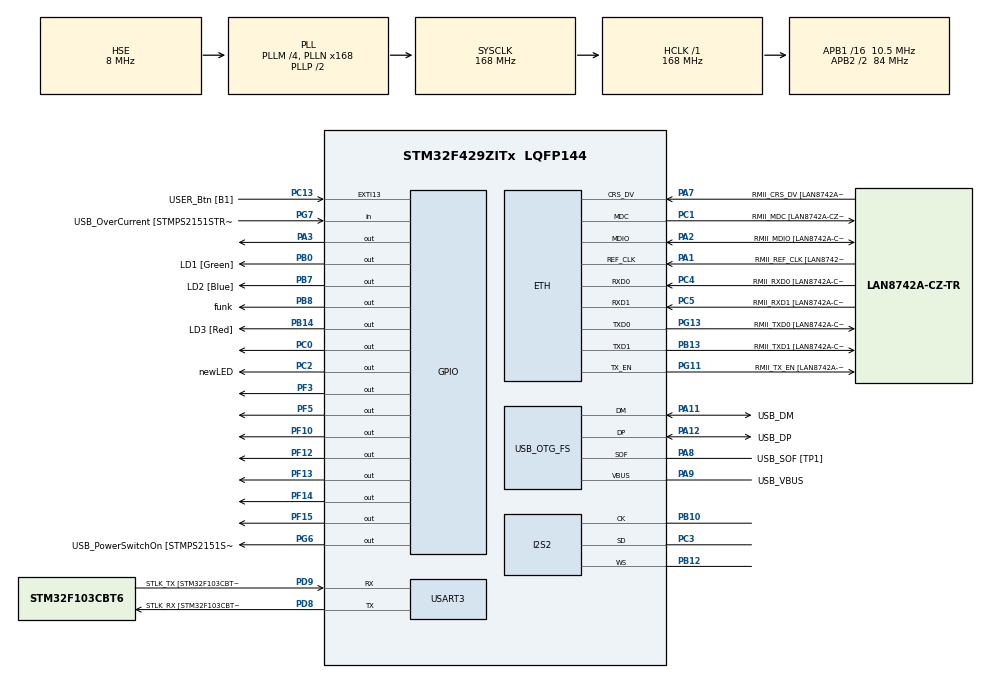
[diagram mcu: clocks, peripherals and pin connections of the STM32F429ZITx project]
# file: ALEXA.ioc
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Dma.Request0=SPI2_RX
Dma.SPI2_RX.0.Direction=DMA_PERIPH_TO_MEMORY
Dma.SPI2_RX.0.FIFOMode=DMA_FIFOMODE_DISABLE
Dma.SPI2_RX.0.Instance=DMA1_Stream3
Dma.SPI2_RX.0.MemDataAlignment=DMA_MDATAALIGN_HALFWORD
Dma.SPI2_RX.0.MemInc=DMA_MINC_ENABLE
Dma.SPI2_RX.0.Mode=DMA_CIRCULAR
Dma.SPI2_RX.0.PeriphDataAlignment=DMA_PDATAALIGN_HALFWORD
Dma.SPI2_RX.0.PeriphInc=DMA_PINC_DISABLE
Dma.SPI2_RX.0.Priority=DMA_PRIORITY_HIGH
ETH.MediaInterface=HAL_ETH_RMII_MODE
ETH.PHY_Name=LAN8742A_PHY_ADDRESS
ETH.PHY_Value=0
ETH.PhyAddress=0
I2S2.AudioFreq=I2S_AUDIOFREQ_16K
I2S2.DataFormat=I2S_DATAFORMAT_24B
I2S2.ErrorAudioFreq=-0.26 %
I2S2.FullDuplexMode=I2S_FULLDUPLEXMODE_DISABLE
I2S2.Instance=SPI$Index
I2S2.Mode=I2S_MODE_MASTER_RX
I2S2.RealAudioFreq=15.957 KHz
I2S2.VirtualMode=I2S_MODE_MASTER
Mcu.Family=STM32F4
Mcu.Name=STM32F429ZITx
Mcu.Package=LQFP144
NVIC.DMA1_Stream3_IRQn=true\:0\:0\:false\:false\:true\:false\:true\:true
NVIC.PriorityGroup=NVIC_PRIORITYGROUP_4
PA1.GPIO_Label=RMII_REF_CLK [LAN8742A-CZ-TR_REFCLK0]
PA1.Mode=RMII
PA1.Signal=ETH_REF_CLK
PA10.GPIO_Label=USB_ID
PA10.Signal=USB_OTG_FS_ID
PA11.GPIO_Label=USB_DM
PA11.Mode=Device_Only
PA11.Signal=USB_OTG_FS_DM
PA12.GPIO_Label=USB_DP
PA12.Mode=Device_Only
PA12.Signal=USB_OTG_FS_DP
PA13.GPIO_Label=TMS
PA13.Mode=Serial_Wire
PA13.Signal=SYS_JTMS-SWDIO
PA14.GPIO_Label=TCK
PA14.Mode=Serial_Wire
PA14.Signal=SYS_JTCK-SWCLK
PA2.GPIO_Label=RMII_MDIO [LAN8742A-CZ-TR_MDIO]
PA2.Mode=RMII
PA2.Signal=ETH_MDIO
PA3.Signal=GPIO_Output
PA7.GPIO_Label=RMII_CRS_DV [LAN8742A-CZ-TR_CRS_DV]
PA7.Mode=RMII
PA7.Signal=ETH_CRS_DV
PA8.GPIO_Label=USB_SOF [TP1]
PA8.Mode=Activate_SOF_FS
PA8.Signal=USB_OTG_FS_SOF
PA9.GPIO_Label=USB_VBUS
PA9.Mode=Activate_VBUS
PA9.Signal=USB_OTG_FS_VBUS
PB0.GPIO_Label=LD1 [Green]
PB0.Signal=GPIO_Output
PB10.Mode=Half_Duplex_Master
PB10.Signal=I2S2_CK
PB12.Mode=Half_Duplex_Master
PB12.Signal=I2S2_WS
PB13.GPIO_Label=RMII_TXD1 [LAN8742A-CZ-TR_TXD1]
PB13.Mode=RMII
PB13.Signal=ETH_TXD1
PB14.GPIO_Label=LD3 [Red]
PB14.Signal=GPIO_Output
PB7.GPIO_Label=LD2 [Blue]
PB7.Signal=GPIO_Output
PB8.GPIO_Label=funk
PB8.Signal=GPIO_Output
PC0.Signal=GPIO_Output
PC1.GPIO_Label=RMII_MDC [LAN8742A-CZ-TR_MDC]
PC1.Mode=RMII
PC1.Signal=ETH_MDC
PC13.GPIO_Label=USER_Btn [B1]
PC13.Signal=GPXTI13
PC14/OSC32_IN.Mode=LSE-External-Oscillator
PC14/OSC32_IN.Signal=RCC_OSC32_IN
PC15/OSC32_OUT.Mode=LSE-External-Oscillator
PC15/OSC32_OUT.Signal=RCC_OSC32_OUT
PC2.GPIO_Label=newLED
PC2.Signal=GPIO_Output
PC3.Mode=Half_Duplex_Master
PC3.Signal=I2S2_SD
PC4.GPIO_Label=RMII_RXD0 [LAN8742A-CZ-TR_RXD0]
PC4.Mode=RMII
PC4.Signal=ETH_RXD0
PC5.GPIO_Label=RMII_RXD1 [LAN8742A-CZ-TR_RXD1]
PC5.Mode=RMII
PC5.Signal=ETH_RXD1
PD8.GPIO_Label=STLK_RX [STM32F103CBT6_PA3]
PD8.Mode=Asynchronous
PD8.Signal=USART3_TX
PD9.GPIO_Label=STLK_TX [STM32F103CBT6_PA2]
PD9.Mode=Asynchronous
PD9.Signal=USART3_RX
PF10.Signal=GPIO_Output
PF12.Signal=GPIO_Output
PF13.Signal=GPIO_Output
PF14.Signal=GPIO_Output
PF15.Signal=GPIO_Output
PF3.Signal=GPIO_Output
PF5.Signal=GPIO_Output
PG11.GPIO_Label=RMII_TX_EN [LAN8742A-CZ-TR_TXEN]
PG11.Mode=RMII
PG11.Signal=ETH_TX_EN
PG13.GPIO_Label=RMII_TXD0 [LAN8742A-CZ-TR_TXD0]
PG13.Mode=RMII
PG13.Signal=ETH_TXD0
PG6.GPIO_Label=USB_PowerSwitchOn [STMPS2151STR_EN]
PG6.Signal=GPIO_Output
PG7.GPIO_Label=USB_OverCurrent [STMPS2151STR_FAULT]
PG7.Signal=GPIO_Input
PH0/OSC_IN.GPIO_Label=MCO [STM32F103CBT6_PA8]
PH0/OSC_IN.Mode=HSE-External-Clock-Source
PH0/OSC_IN.Signal=RCC_OSC_IN
PH1/OSC_OUT.Mode=HSE-External-Clock-Source
PH1/OSC_OUT.Signal=RCC_OSC_OUT
ProjectManager.HeapSize=0x200
ProjectManager.StackSize=0x400
ProjectManager.TargetToolchain=STM32CubeIDE
RCC.48MHZClocksFreq_Value=48000000
RCC.AHBFreq_Value=168000000
RCC.APB1CLKDivider=RCC_HCLK_DIV16
RCC.APB1Freq_Value=10500000
RCC.APB1TimFreq_Value=21000000
RCC.APB2CLKDivider=RCC_HCLK_DIV2
RCC.APB2Freq_Value=84000000
RCC.APB2TimCLKDivider=2
RCC.APB2TimFreq_Value=168000000
RCC.CortexFreq_Value=168000000
RCC.HCLKFreq_Value=168000000
RCC.HSE_VALUE=8000000
RCC.HSI_VALUE=16000000
RCC.PLLM=4
RCC.PLLMUL=RCC_PLL_MUL9
RCC.PLLN=168
RCC.PLLQ=7
RCC.PRESCALERUSB=RCC_USBCLKSOURCE_PLL_DIV1_5
RCC.SYSCLKFreq_VALUE=168000000
RCC.SYSCLKSource=RCC_SYSCLKSOURCE_PLLCLK
RCC.SYSCLKSourceVirtual=RCC_SYSCLKSOURCE_PLLCLK
RCC.USBFreq_Value=48000000
RCC.VCOOutputFreq_Value=336000000
TIM4.Period=800
TIM4.Prescaler=20
USART3.VirtualMode=VM_ASYNC
USB_OTG_FS.VirtualMode=Device_Only
VP_TIM4_VS_ClockSourceINT.Mode=Internal
board=NUCLEO-F429ZI

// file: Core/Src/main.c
/* USER CODE BEGIN Header */
/**
  ******************************************************************************
  * @file           : main.c
  * @brief          : Main program body
  ******************************************************************************
  * @attention
  *
  * Copyright (c) 2025 STMicroelectronics.
  * All rights reserved.
  *
  * This software is licensed under terms that can be found in the LICENSE file
  * in the root directory of this software component.
  * If no LICENSE file comes with this software, it is provided AS-IS.
  *
  ******************************************************************************
  */
/* USER CODE END Header */
#include "main.h"
#include "string.h"

/* USER CODE BEGIN Includes */
#include <stdint.h>
#include <stdbool.h>
#include <stdio.h>

#include "funk.h"
#include "mikro.h"

/* USER CODE END Includes */

ETH_TxPacketConfig TxConfig;
ETH_DMADescTypeDef  DMARxDscrTab[ETH_RX_DESC_CNT]; /* Ethernet Rx DMA Descriptors */
ETH_DMADescTypeDef  DMATxDscrTab[ETH_TX_DESC_CNT]; /* Ethernet Tx DMA Descriptors */

ETH_HandleTypeDef heth;

I2S_HandleTypeDef hi2s2;
DMA_HandleTypeDef hdma_spi2_rx;

TIM_HandleTypeDef htim4;

UART_HandleTypeDef huart3;

PCD_HandleTypeDef hpcd_USB_OTG_FS;

/* USER CODE BEGIN PV */

// 1 second of audio at 16 kHz = 16000 final samples
//constexpr uint32_t PCM_SAMPLES_PER_SEC = 16000;
volatile bool recording_finished = false;
TIM_HandleTypeDef* TIMER = &htim4;
UART_HandleTypeDef* display =  &huart3;

// declare pins
typedef struct {
	GPIO_TypeDef* port;
	uint16_t pin;
	uint8_t state;
} Segment_t;

// assign segments to pins
Segment_t segments[10] = {
		{GPIOA, GPIO_PIN_3, 0}, //A0 - A
		{GPIOC, GPIO_PIN_0, 0}, //A1 - B
		{GPIOC, GPIO_PIN_3, 0}, //A2 - C -> A7
		{GPIOF, GPIO_PIN_3, 0}, //A3 - D
		{GPIOF, GPIO_PIN_5, 0}, //A4 - E
		{GPIOF, GPIO_PIN_10, 0}, //A5 - F
		{GPIOF, GPIO_PIN_15, 0}, //D2 - G
		{GPIOF, GPIO_PIN_14, 0}, //D4 - H
		{GPIOF, GPIO_PIN_13, 0}, //D7 - I
		{GPIOF, GPIO_PIN_12, 0}, //D8 - J
};

/* USER CODE END PV */

void SystemClock_Config(void);
static void MX_GPIO_Init(void);
static void MX_DMA_Init(void);
static void MX_ETH_Init(void);
static void MX_USART3_UART_Init(void);
static void MX_USB_OTG_FS_PCD_Init(void);
static void MX_TIM4_Init(void);
static void MX_I2S2_Init(void);
/* USER CODE BEGIN PFP */

// declare light functions
//void gradualLightUp(void);
void gradualLightDown(void);
void gradualLightUp();
void turnOffAllSegments(void);

/* USER CODE END PFP */

int main(void)
{

  /* MCU Configuration--------------------------------------------------------*/

  /* Reset of all peripherals, Initializes the Flash interface and the Systick. */
  HAL_Init();

  /* Configure the system clock */
  SystemClock_Config();

  /* Initialize all configured peripherals */
  MX_GPIO_Init();
  MX_DMA_Init();
  MX_ETH_Init();
  MX_USART3_UART_Init();
  MX_USB_OTG_FS_PCD_Init();
  MX_TIM4_Init();
  MX_I2S2_Init();
  /* USER CODE BEGIN 2 */

   printf("recording finished\r\n");
   //HAL_I2S_Receive_DMA(&hi2s2, (uint16_t*)inputBuffer, I2S_DMA_BUF_SIZE);
   HAL(&hi2s2);

    sendSequence("111111000010");

    HAL_GPIO_WritePin(GPIOB, GPIO_PIN_14, GPIO_PIN_SET); // LED2 dauerhaft an
    HAL_Delay(5000);

    sendSequence("111111000001");
    HAL_GPIO_WritePin(GPIOB, GPIO_PIN_14, GPIO_PIN_RESET); // LED2 dauerhaft aus

    //recording_finished = true;
  /* USER CODE END 2 */

  /* Infinite loop */
  /* USER CODE BEGIN WHILE */
  while (1)
  {
	  if (recording_finished)
	 	      {
	 		  //HAL_GPIO_WritePin(LD1_GPIO_Port, LD1_Pin, GPIO_PIN_SET);
	 		  //const char *message = "Recording Ended.\r\n";
	 		  // Ensure huart2 is available and transmit the message.

	 		  getSamples();
	 		  recording_finished= false;
	 	      }

/*
		 gradualLightUp(10);
		 HAL_Delay(1000);
		 gradualLightDown();
		 HAL_Delay(1000);
		 */

    /* USER CODE END WHILE */

  }
}

void SystemClock_Config(void)
{
  RCC_OscInitTypeDef RCC_OscInitStruct = {0};
  RCC_ClkInitTypeDef RCC_ClkInitStruct = {0};

  /** Configure the main internal regulator output voltage
  */
  __HAL_RCC_PWR_CLK_ENABLE();
  __HAL_PWR_VOLTAGESCALING_CONFIG(PWR_REGULATOR_VOLTAGE_SCALE1);

  /** Initializes the RCC Oscillators according to the specified parameters
  * in the RCC_OscInitTypeDef structure.
  */
  RCC_OscInitStruct.OscillatorType = RCC_OSCILLATORTYPE_HSE;
  RCC_OscInitStruct.HSEState = RCC_HSE_BYPASS;
  RCC_OscInitStruct.PLL.PLLState = RCC_PLL_ON;
  RCC_OscInitStruct.PLL.PLLSource = RCC_PLLSOURCE_HSE;
  RCC_OscInitStruct.PLL.PLLM = 4;
  RCC_OscInitStruct.PLL.PLLN = 168;
  RCC_OscInitStruct.PLL.PLLP = RCC_PLLP_DIV2;
  RCC_OscInitStruct.PLL.PLLQ = 7;
  if (HAL_RCC_OscConfig(&RCC_OscInitStruct) != HAL_OK)
  {
    Error_Handler();
  }

  /** Initializes the CPU, AHB and APB buses clocks
  */
  RCC_ClkInitStruct.ClockType = RCC_CLOCKTYPE_HCLK|RCC_CLOCKTYPE_SYSCLK
                              |RCC_CLOCKTYPE_PCLK1|RCC_CLOCKTYPE_PCLK2;
  RCC_ClkInitStruct.SYSCLKSource = RCC_SYSCLKSOURCE_PLLCLK;
  RCC_ClkInitStruct.AHBCLKDivider = RCC_SYSCLK_DIV1;
  RCC_ClkInitStruct.APB1CLKDivider = RCC_HCLK_DIV16;
  RCC_ClkInitStruct.APB2CLKDivider = RCC_HCLK_DIV2;

  if (HAL_RCC_ClockConfig(&RCC_ClkInitStruct, FLASH_LATENCY_5) != HAL_OK)
  {
    Error_Handler();
  }
}

static void MX_ETH_Init(void)
{

   static uint8_t MACAddr[6];

  heth.Instance = ETH;
  MACAddr[0] = 0x00;
  MACAddr[1] = 0x80;
  MACAddr[2] = 0xE1;
  MACAddr[3] = 0x00;
  MACAddr[4] = 0x00;
  MACAddr[5] = 0x00;
  heth.Init.MACAddr = &MACAddr[0];
  heth.Init.MediaInterface = HAL_ETH_RMII_MODE;
  heth.Init.TxDesc = DMATxDscrTab;
  heth.Init.RxDesc = DMARxDscrTab;
  heth.Init.RxBuffLen = 1524;

  if (HAL_ETH_Init(&heth) != HAL_OK)
  {
    Error_Handler();
  }

  memset(&TxConfig, 0 , sizeof(ETH_TxPacketConfig));
  TxConfig.Attributes = ETH_TX_PACKETS_FEATURES_CSUM | ETH_TX_PACKETS_FEATURES_CRCPAD;
  TxConfig.ChecksumCtrl = ETH_CHECKSUM_IPHDR_PAYLOAD_INSERT_PHDR_CALC;
  TxConfig.CRCPadCtrl = ETH_CRC_PAD_INSERT;

}

static void MX_I2S2_Init(void)
{

  hi2s2.Instance = SPI2;
  hi2s2.Init.Mode = I2S_MODE_MASTER_RX;
  hi2s2.Init.Standard = I2S_STANDARD_PHILIPS;
  hi2s2.Init.DataFormat = I2S_DATAFORMAT_24B;
  hi2s2.Init.MCLKOutput = I2S_MCLKOUTPUT_DISABLE;
  hi2s2.Init.AudioFreq = I2S_AUDIOFREQ_16K;
  hi2s2.Init.CPOL = I2S_CPOL_LOW;
  hi2s2.Init.ClockSource = I2S_CLOCK_PLL;
  hi2s2.Init.FullDuplexMode = I2S_FULLDUPLEXMODE_DISABLE;
  if (HAL_I2S_Init(&hi2s2) != HAL_OK)
  {
    Error_Handler();
  }

}

static void MX_TIM4_Init(void)
{

  TIM_ClockConfigTypeDef sClockSourceConfig = {0};
  TIM_MasterConfigTypeDef sMasterConfig = {0};

  htim4.Instance = TIM4;
  htim4.Init.Prescaler = 20;
  htim4.Init.CounterMode = TIM_COUNTERMODE_UP;
  htim4.Init.Period = 800;
  htim4.Init.ClockDivision = TIM_CLOCKDIVISION_DIV1;
  htim4.Init.AutoReloadPreload = TIM_AUTORELOAD_PRELOAD_DISABLE;
  if (HAL_TIM_Base_Init(&htim4) != HAL_OK)
  {
    Error_Handler();
  }
  sClockSourceConfig.ClockSource = TIM_CLOCKSOURCE_INTERNAL;
  if (HAL_TIM_ConfigClockSource(&htim4, &sClockSourceConfig) != HAL_OK)
  {
    Error_Handler();
  }
  sMasterConfig.MasterOutputTrigger = TIM_TRGO_RESET;
  sMasterConfig.MasterSlaveMode = TIM_MASTERSLAVEMODE_DISABLE;
  if (HAL_TIMEx_MasterConfigSynchronization(&htim4, &sMasterConfig) != HAL_OK)
  {
    Error_Handler();
  }

}

static void MX_USART3_UART_Init(void)
{

  huart3.Instance = USART3;
  huart3.Init.BaudRate = 115200;
  huart3.Init.WordLength = UART_WORDLENGTH_8B;
  huart3.Init.StopBits = UART_STOPBITS_1;
  huart3.Init.Parity = UART_PARITY_NONE;
  huart3.Init.Mode = UART_MODE_TX_RX;
  huart3.Init.HwFlowCtl = UART_HWCONTROL_NONE;
  huart3.Init.OverSampling = UART_OVERSAMPLING_16;
  if (HAL_UART_Init(&huart3) != HAL_OK)
  {
    Error_Handler();
  }

}

static void MX_USB_OTG_FS_PCD_Init(void)
{

  hpcd_USB_OTG_FS.Instance = USB_OTG_FS;
  hpcd_USB_OTG_FS.Init.dev_endpoints = 4;
  hpcd_USB_OTG_FS.Init.speed = PCD_SPEED_FULL;
  hpcd_USB_OTG_FS.Init.dma_enable = DISABLE;
  hpcd_USB_OTG_FS.Init.phy_itface = PCD_PHY_EMBEDDED;
  hpcd_USB_OTG_FS.Init.Sof_enable = ENABLE;
  hpcd_USB_OTG_FS.Init.low_power_enable = DISABLE;
  hpcd_USB_OTG_FS.Init.lpm_enable = DISABLE;
  hpcd_USB_OTG_FS.Init.vbus_sensing_enable = ENABLE;
  hpcd_USB_OTG_FS.Init.use_dedicated_ep1 = DISABLE;
  if (HAL_PCD_Init(&hpcd_USB_OTG_FS) != HAL_OK)
  {
    Error_Handler();
  }

}

static void MX_DMA_Init(void)
{

  /* DMA controller clock enable */
  __HAL_RCC_DMA1_CLK_ENABLE();

  /* DMA interrupt init */
  /* DMA1_Stream3_IRQn interrupt configuration */
  HAL_NVIC_SetPriority(DMA1_Stream3_IRQn, 0, 0);
  HAL_NVIC_EnableIRQ(DMA1_Stream3_IRQn);

}

static void MX_GPIO_Init(void)
{
  GPIO_InitTypeDef GPIO_InitStruct = {0};

  /* GPIO Ports Clock Enable */
  __HAL_RCC_GPIOC_CLK_ENABLE();
  __HAL_RCC_GPIOF_CLK_ENABLE();
  __HAL_RCC_GPIOH_CLK_ENABLE();
  __HAL_RCC_GPIOA_CLK_ENABLE();
  __HAL_RCC_GPIOB_CLK_ENABLE();
  __HAL_RCC_GPIOD_CLK_ENABLE();
  __HAL_RCC_GPIOG_CLK_ENABLE();

  /*Configure GPIO pin Output Level */
  HAL_GPIO_WritePin(GPIOF, GPIO_PIN_3|GPIO_PIN_5|GPIO_PIN_10|GPIO_PIN_12
                          |GPIO_PIN_13|GPIO_PIN_14|GPIO_PIN_15, GPIO_PIN_RESET);

  /*Configure GPIO pin Output Level */
  HAL_GPIO_WritePin(GPIOC, GPIO_PIN_0|newLED_Pin, GPIO_PIN_RESET);

  /*Configure GPIO pin Output Level */
  HAL_GPIO_WritePin(GPIOA, GPIO_PIN_3, GPIO_PIN_RESET);

  /*Configure GPIO pin Output Level */
  HAL_GPIO_WritePin(GPIOB, LD1_Pin|LD3_Pin|LD2_Pin|funk_Pin, GPIO_PIN_RESET);

  /*Configure GPIO pin Output Level */
  HAL_GPIO_WritePin(USB_PowerSwitchOn_GPIO_Port, USB_PowerSwitchOn_Pin, GPIO_PIN_RESET);

  /*Configure GPIO pin : USER_Btn_Pin */
  GPIO_InitStruct.Pin = USER_Btn_Pin;
  GPIO_InitStruct.Mode = GPIO_MODE_IT_RISING;
  GPIO_InitStruct.Pull = GPIO_NOPULL;
  HAL_GPIO_Init(USER_Btn_GPIO_Port, &GPIO_InitStruct);

  /*Configure GPIO pins : PF3 PF5 PF10 PF12
                           PF13 PF14 PF15 */
  GPIO_InitStruct.Pin = GPIO_PIN_3|GPIO_PIN_5|GPIO_PIN_10|GPIO_PIN_12
                          |GPIO_PIN_13|GPIO_PIN_14|GPIO_PIN_15;
  GPIO_InitStruct.Mode = GPIO_MODE_OUTPUT_PP;
  GPIO_InitStruct.Pull = GPIO_NOPULL;
  GPIO_InitStruct.Speed = GPIO_SPEED_FREQ_LOW;
  HAL_GPIO_Init(GPIOF, &GPIO_InitStruct);

  /*Configure GPIO pins : PC0 newLED_Pin */
  GPIO_InitStruct.Pin = GPIO_PIN_0|newLED_Pin;
  GPIO_InitStruct.Mode = GPIO_MODE_OUTPUT_PP;
  GPIO_InitStruct.Pull = GPIO_NOPULL;
  GPIO_InitStruct.Speed = GPIO_SPEED_FREQ_LOW;
  HAL_GPIO_Init(GPIOC, &GPIO_InitStruct);

  /*Configure GPIO pin : PA3 */
  GPIO_InitStruct.Pin = GPIO_PIN_3;
  GPIO_InitStruct.Mode = GPIO_MODE_OUTPUT_PP;
  GPIO_InitStruct.Pull = GPIO_NOPULL;
  GPIO_InitStruct.Speed = GPIO_SPEED_FREQ_LOW;
  HAL_GPIO_Init(GPIOA, &GPIO_InitStruct);

  /*Configure GPIO pins : LD1_Pin LD3_Pin LD2_Pin funk_Pin */
  GPIO_InitStruct.Pin = LD1_Pin|LD3_Pin|LD2_Pin|funk_Pin;
  GPIO_InitStruct.Mode = GPIO_MODE_OUTPUT_PP;
  GPIO_InitStruct.Pull = GPIO_NOPULL;
  GPIO_InitStruct.Speed = GPIO_SPEED_FREQ_LOW;
  HAL_GPIO_Init(GPIOB, &GPIO_InitStruct);

  /*Configure GPIO pin : USB_PowerSwitchOn_Pin */
  GPIO_InitStruct.Pin = USB_PowerSwitchOn_Pin;
  GPIO_InitStruct.Mode = GPIO_MODE_OUTPUT_PP;
  GPIO_InitStruct.Pull = GPIO_NOPULL;
  GPIO_InitStruct.Speed = GPIO_SPEED_FREQ_LOW;
  HAL_GPIO_Init(USB_PowerSwitchOn_GPIO_Port, &GPIO_InitStruct);

  /*Configure GPIO pin : USB_OverCurrent_Pin */
  GPIO_InitStruct.Pin = USB_OverCurrent_Pin;
  GPIO_InitStruct.Mode = GPIO_MODE_INPUT;
  GPIO_InitStruct.Pull = GPIO_NOPULL;
  HAL_GPIO_Init(USB_OverCurrent_GPIO_Port, &GPIO_InitStruct);

}

/* USER CODE BEGIN 4 */

// define light functions
void turnOffAllSegments() {
	for(int i = 0; i < 10; i++) {
		HAL_GPIO_WritePin(segments[i].port, segments[i].pin, GPIO_PIN_RESET);
	}
}

void gradualLightUp(int lights) {
		turnOffAllSegments();

		for(int i = 0; i < lights; i++) {
			HAL_GPIO_WritePin(segments[i].port, segments[i].pin, GPIO_PIN_SET);
			HAL_Delay(1000);
		}
	}

void gradualLightDown() {
		for(int i = 9; i >= 0; i--) {
			HAL_GPIO_WritePin(segments[i].port, segments[i].pin, GPIO_PIN_RESET);
			HAL_Delay(1000);
		}
	}

void LightUp(int lights) {
		turnOffAllSegments();

		for(int i = 0; i < lights; i++) {
			HAL_GPIO_WritePin(segments[i].port, segments[i].pin, GPIO_PIN_SET);
		}
	}

/* USER CODE END 4 */

void Error_Handler(void)
{
  __disable_irq();
  while (1)
  {
  }
}
